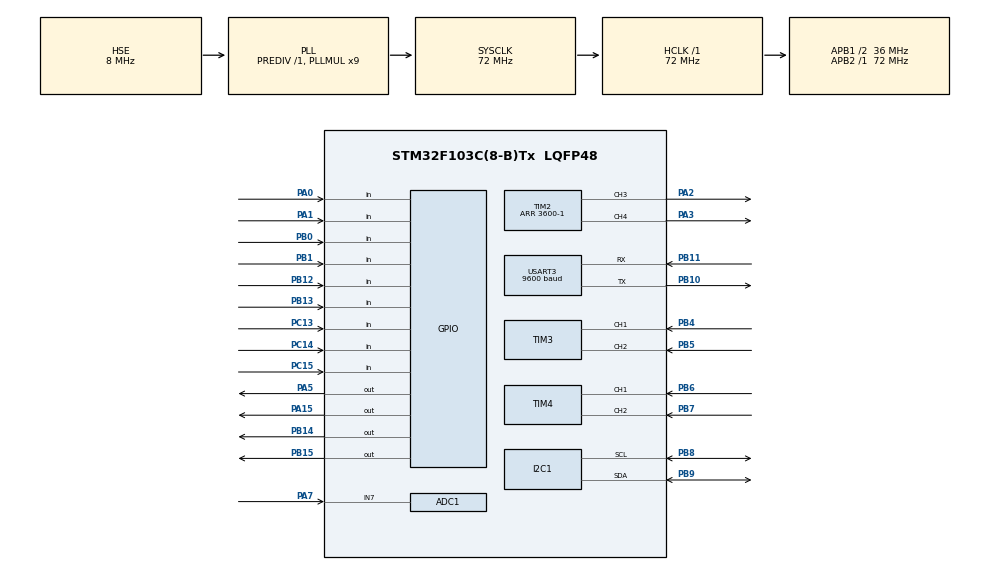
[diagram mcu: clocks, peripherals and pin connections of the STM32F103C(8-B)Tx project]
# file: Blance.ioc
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ADC1.Channel-0\#ChannelRegularConversion=ADC_CHANNEL_7
ADC1.NbrOfConversion=1
ADC1.NbrOfConversionFlag=1
ADC1.Rank-0\#ChannelRegularConversion=1
ADC1.SamplingTime-0\#ChannelRegularConversion=ADC_SAMPLETIME_239CYCLES_5
ADC1.master=1
I2C1.I2C_Mode=I2C_Fast
Mcu.Family=STM32F1
Mcu.Name=STM32F103C(8-B)Tx
Mcu.Package=LQFP48
NVIC.PriorityGroup=NVIC_PRIORITYGROUP_4
NVIC.TIM1_UP_IRQn=true\:0\:0\:false\:false\:true\:true\:true\:true
NVIC.USART3_IRQn=true\:0\:0\:false\:false\:true\:true\:true\:true
PA0-WKUP.Signal=GPIO_Input
PA1.GPIO_PuPd=GPIO_PULLUP
PA1.Signal=GPIO_Input
PA13.Mode=Serial_Wire
PA13.Signal=SYS_JTMS-SWDIO
PA14.Mode=Serial_Wire
PA14.Signal=SYS_JTCK-SWCLK
PA15.GPIO_PuPd=GPIO_NOPULL
PA15.Signal=GPIO_Output
PA2.Signal=S_TIM2_CH3
PA3.Signal=S_TIM2_CH4
PA5.Signal=GPIO_Output
PA7.Signal=ADCx_IN7
PB0.GPIO_PuPd=GPIO_PULLUP
PB0.Signal=GPIO_Input
PB1.GPIO_PuPd=GPIO_PULLUP
PB1.Signal=GPIO_Input
PB10.Mode=Asynchronous
PB10.Signal=USART3_TX
PB11.GPIO_PuPd=GPIO_PULLUP
PB11.Mode=Asynchronous
PB11.Signal=USART3_RX
PB12.Signal=GPIO_Input
PB13.Signal=GPIO_Input
PB14.Signal=GPIO_Output
PB15.Signal=GPIO_Output
PB4.Signal=S_TIM3_CH1
PB5.Signal=S_TIM3_CH2
PB6.Signal=S_TIM4_CH1
PB7.Signal=S_TIM4_CH2
PB8.Mode=I2C
PB8.Signal=I2C1_SCL
PB9.Mode=I2C
PB9.Signal=I2C1_SDA
PC13-TAMPER-RTC.Signal=GPIO_Input
PC14-OSC32_IN.Signal=GPIO_Input
PC15-OSC32_OUT.Signal=GPIO_Input
PD0-OSC_IN.Mode=HSE-External-Oscillator
PD0-OSC_IN.Signal=RCC_OSC_IN
PD1-OSC_OUT.Mode=HSE-External-Oscillator
PD1-OSC_OUT.Signal=RCC_OSC_OUT
ProjectManager.HeapSize=0x200
ProjectManager.StackSize=0x400
ProjectManager.TargetToolchain=MDK-ARM V5.32
RCC.ADCPresc=RCC_ADCPCLK2_DIV6
RCC.AHBFreq_Value=72000000
RCC.APB1CLKDivider=RCC_HCLK_DIV2
RCC.APB1Freq_Value=36000000
RCC.APB1TimFreq_Value=72000000
RCC.APB2Freq_Value=72000000
RCC.APB2TimFreq_Value=72000000
RCC.HCLKFreq_Value=72000000
RCC.PLLMUL=RCC_PLL_MUL9
RCC.PLLSourceVirtual=RCC_PLLSOURCE_HSE
RCC.SYSCLKFreq_VALUE=72000000
RCC.SYSCLKSource=RCC_SYSCLKSOURCE_PLLCLK
RCC.USBFreq_Value=72000000
SH.ADCx_IN7.0=ADC1_IN7,IN7
SH.S_TIM2_CH3.0=TIM2_CH3,PWM Generation3 CH3
SH.S_TIM2_CH4.0=TIM2_CH4,PWM Generation4 CH4
SH.S_TIM3_CH1.0=TIM3_CH1,Encoder_Interface
SH.S_TIM3_CH2.0=TIM3_CH2,Encoder_Interface
SH.S_TIM4_CH1.0=TIM4_CH1,Encoder_Interface
SH.S_TIM4_CH2.0=TIM4_CH2,Encoder_Interface
TIM1.AutoReloadPreload=TIM_AUTORELOAD_PRELOAD_ENABLE
TIM1.Period=1000-1
TIM1.Prescaler=72-1
TIM2.AutoReloadPreload=TIM_AUTORELOAD_PRELOAD_ENABLE
TIM2.Channel-PWM\ Generation3\ CH3=TIM_CHANNEL_3
TIM2.Channel-PWM\ Generation4\ CH4=TIM_CHANNEL_4
TIM2.Period=3600-1
TIM3.AutoReloadPreload=TIM_AUTORELOAD_PRELOAD_ENABLE
TIM3.EncoderMode=TIM_ENCODERMODE_TI12
TIM3.IC1Filter=8
TIM3.IC2Filter=8
TIM4.AutoReloadPreload=TIM_AUTORELOAD_PRELOAD_ENABLE
TIM4.EncoderMode=TIM_ENCODERMODE_TI12
TIM4.IC1Filter=8
TIM4.IC2Filter=8
USART3.BaudRate=9600
USART3.VirtualMode=VM_ASYNC
VP_TIM1_VS_ClockSourceINT.Mode=Internal
VP_TIM2_VS_ClockSourceINT.Mode=Internal
board=custom

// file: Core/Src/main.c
/* USER CODE BEGIN Header */
/**
  ******************************************************************************
  * @file           : main.c
  * @brief          : Main program body
  ******************************************************************************
  * @attention
  *
  * Copyright (c) 2026 STMicroelectronics.
  * All rights reserved.
  *
  * This software is licensed under terms that can be found in the LICENSE file
  * in the root directory of this software component.
  * If no LICENSE file comes with this software, it is provided AS-IS.
  *
  ******************************************************************************
  */
/* USER CODE END Header */
#include "main.h"
#include "adc.h"
#include "i2c.h"
#include "tim.h"
#include "usart.h"
#include "gpio.h"

/* USER CODE BEGIN Includes */
#include "oled.h"
#include "moto.h"
#include "inv_mpu.h"
#include "inv_mpu_dmp_motion_driver.h"
#include "mpu6050.h"
#include "stdlib.h"
#include "stdio.h"
#include "encoder.h"
#include "param.h"
#include "PID.h"
#include "gray.h"
#include "KEY.h"
#include "pot.h"
#include "State.h"
#include "BLE.h"

/* USER CODE END Includes */

/* USER CODE BEGIN PV */

volatile uint8_t tick;
volatile uint8_t flag_1ms;
volatile uint8_t flag_5ms;
volatile uint8_t flag_10ms;
volatile uint8_t flag_20ms;
volatile uint8_t flag_50ms;
volatile uint8_t flag_100ms;
volatile uint8_t flag_200ms;
float PWM_L_OUT=0;
float PWM_R_OUT=0;
float pot=0;

/* USER CODE END PV */

void SystemClock_Config(void);

int main(void)
{

  /* MCU Configuration--------------------------------------------------------*/

  /* Reset of all peripherals, Initializes the Flash interface and the Systick. */
  HAL_Init();

  /* Configure the system clock */
  SystemClock_Config();

  /* Initialize all configured peripherals */
  MX_GPIO_Init();
  MX_ADC1_Init();
  MX_I2C1_Init();
  MX_TIM1_Init();
  MX_TIM2_Init();
  MX_TIM3_Init();
  MX_TIM4_Init();
  MX_USART3_UART_Init();
  /* USER CODE BEGIN 2 */
	Param_Init();
	Motor_InitAll();
	PID_InitAll();

	Encoder_Init(&g_encoder);
	MPU_Object_Init(&g_mpu);
	Key_Init(&g_KEY);
	pot_Init(&g_pot);
	Tuner_Init(&g_tuner);
	State_Init(&g_State);

	OLED_Init();
	OLED_Clear();
	MPU_Init();
	mpu_dmp_init();
	Gray_Init(&g_gray);

	g_param.stand_hope = 0;
	for (uint8_t i = 0; i < 10; i++)
	{
		{
			uint16_t t = 0;
			while (mpu_dmp_get_data(&g_mpu.pitch, &g_mpu.roll, &g_mpu.yaw) != 0)
			{
				if (++t > 500) break;
				HAL_Delay(1);
			}
		}
		g_param.stand_hope += g_mpu.roll;
		HAL_Delay(10);
	}
	g_param.stand_hope /= 10;
	g_stand.Hope = g_param.stand_hope;

	HAL_TIM_PWM_Start(&htim2,TIM_CHANNEL_3);
	HAL_TIM_PWM_Start(&htim2,TIM_CHANNEL_4);
	HAL_TIM_Encoder_Start(&htim3, TIM_CHANNEL_ALL);
	HAL_TIM_Encoder_Start(&htim4, TIM_CHANNEL_ALL);
	HAL_TIM_Base_Start_IT(&htim1);

  /* USER CODE END 2 */

  /* Infinite loop */
  while (1)
  {

    /* USER CODE BEGIN 3 */

	if(flag_5ms)
	{
		flag_5ms = 0;

	}

	if(flag_20ms)
	{
		flag_20ms = 0;
		g_pot.get(&g_pot);
		BLE_Send(g_mpu.roll,g_param.stand_hope,PWM_L_OUT/500,g_encoder.L_encoder*10);
	}

	if(flag_50ms)
	{
		flag_50ms = 0;
	}

	if(flag_200ms)
	{
		flag_200ms = 0;
		if(g_State.task_state==TASK_1)	OLED_Show_T1();
		else OLED_Show_T1();
	}

  }
  /* USER CODE END 3 */
}

void SystemClock_Config(void)
{
  RCC_OscInitTypeDef RCC_OscInitStruct = {0};
  RCC_ClkInitTypeDef RCC_ClkInitStruct = {0};
  RCC_PeriphCLKInitTypeDef PeriphClkInit = {0};

  /** Initializes the RCC Oscillators according to the specified parameters
  * in the RCC_OscInitTypeDef structure.
  */
  RCC_OscInitStruct.OscillatorType = RCC_OSCILLATORTYPE_HSE;
  RCC_OscInitStruct.HSEState = RCC_HSE_ON;
  RCC_OscInitStruct.HSEPredivValue = RCC_HSE_PREDIV_DIV1;
  RCC_OscInitStruct.HSIState = RCC_HSI_ON;
  RCC_OscInitStruct.PLL.PLLState = RCC_PLL_ON;
  RCC_OscInitStruct.PLL.PLLSource = RCC_PLLSOURCE_HSE;
  RCC_OscInitStruct.PLL.PLLMUL = RCC_PLL_MUL9;
  if (HAL_RCC_OscConfig(&RCC_OscInitStruct) != HAL_OK)
  {
    Error_Handler();
  }

  /** Initializes the CPU, AHB and APB buses clocks
  */
  RCC_ClkInitStruct.ClockType = RCC_CLOCKTYPE_HCLK|RCC_CLOCKTYPE_SYSCLK
                              |RCC_CLOCKTYPE_PCLK1|RCC_CLOCKTYPE_PCLK2;
  RCC_ClkInitStruct.SYSCLKSource = RCC_SYSCLKSOURCE_PLLCLK;
  RCC_ClkInitStruct.AHBCLKDivider = RCC_SYSCLK_DIV1;
  RCC_ClkInitStruct.APB1CLKDivider = RCC_HCLK_DIV2;
  RCC_ClkInitStruct.APB2CLKDivider = RCC_HCLK_DIV1;

  if (HAL_RCC_ClockConfig(&RCC_ClkInitStruct, FLASH_LATENCY_2) != HAL_OK)
  {
    Error_Handler();
  }
  PeriphClkInit.PeriphClockSelection = RCC_PERIPHCLK_ADC;
  PeriphClkInit.AdcClockSelection = RCC_ADCPCLK2_DIV6;
  if (HAL_RCCEx_PeriphCLKConfig(&PeriphClkInit) != HAL_OK)
  {
    Error_Handler();
  }
}

/* USER CODE BEGIN 4 */

void HAL_TIM_PeriodElapsedCallback(TIM_HandleTypeDef *htim)
{
	if (htim->Instance == TIM1) {
		tick++;

	if(tick % 5 == 0)
	{
		g_mpu.MPU_GET(&g_mpu);
		g_stand.update(&g_stand, g_mpu.roll, g_mpu.gyro_x);
		g_State.Control(&g_State);

	}

	if (tick % 10  == 0)
	{
		g_gray.Gary_BACK(&g_gray);
    if (g_State.run_state == RUN_FWD)
        g_turn.update(&g_turn, (float)g_gray.gray_return, 0);
    else
        g_turn.reset(&g_turn);
	}

	if (tick % 20  == 0)
	{

		g_State.State_choose(&g_State);

		g_encoder.Read_Encoder(&g_encoder);

		if (g_State.run_state == RUN_FWD)
			g_turn.update(&g_turn, (float)g_gray.gray_return , 0);
		else
			g_turn.reset(&g_turn);

		g_State.Speed_Loop(&g_State,g_encoder.L_encoder,g_encoder.R_encoder);
	}

		if (tick % 1   == 0)  flag_1ms   = 1;
		if (tick % 5   == 0)  flag_5ms   = 1;
		if (tick % 20   == 0) flag_20ms  = 1;
		if (tick % 50  == 0)  flag_50ms  = 1;
		if (tick % 100 == 0)  flag_100ms = 1;
		if (tick % 200 == 0){ flag_200ms = 1;	tick = 0;}
	}
}

/* USER CODE END 4 */

void Error_Handler(void)
{
  __disable_irq();
  while (1)
  {
  }
}
